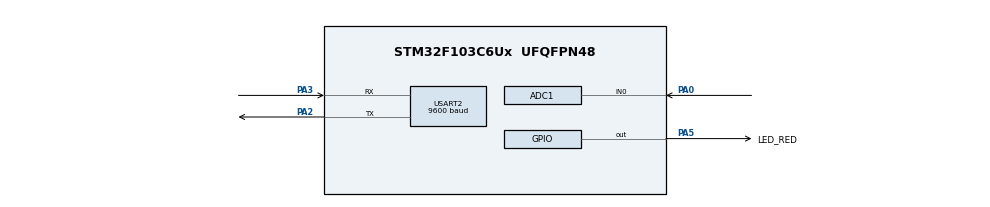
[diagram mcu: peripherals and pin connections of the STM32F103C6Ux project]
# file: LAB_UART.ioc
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ADC1.Channel-0\#ChannelRegularConversion=ADC_CHANNEL_0
ADC1.ContinuousConvMode=ENABLE
ADC1.NbrOfConversionFlag=1
ADC1.Rank-0\#ChannelRegularConversion=1
ADC1.SamplingTime-0\#ChannelRegularConversion=ADC_SAMPLETIME_1CYCLE_5
ADC1.master=1
Mcu.Family=STM32F1
Mcu.Name=STM32F103C6Ux
Mcu.Package=UFQFPN48
NVIC.PriorityGroup=NVIC_PRIORITYGROUP_4
NVIC.TIM2_IRQn=true\:0\:0\:false\:false\:true\:true\:true
NVIC.USART2_IRQn=true\:0\:0\:false\:false\:true\:true\:true
PA0-WKUP.Signal=ADCx_IN0
PA2.Mode=Asynchronous
PA2.Signal=USART2_TX
PA3.Mode=Asynchronous
PA3.Signal=USART2_RX
PA5.GPIO_Label=LED_RED
PA5.Signal=GPIO_Output
ProjectManager.HeapSize=0x200
ProjectManager.StackSize=0x400
ProjectManager.TargetToolchain=STM32CubeIDE
RCC.APB1Freq_Value=8000000
RCC.APB2Freq_Value=8000000
SH.ADCx_IN0.0=ADC1_IN0,IN0
TIM2.Period=9
TIM2.Prescaler=7999
USART2.BaudRate=9600
USART2.VirtualMode=VM_ASYNC
VP_SYS_VS_ND.Mode=No_Debug
VP_TIM2_VS_ClockSourceINT.Mode=Internal
board=custom

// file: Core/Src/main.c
/* USER CODE BEGIN Header */
/**
  ******************************************************************************
  * @file           : main.c
  * @brief          : Main program body
  ******************************************************************************
  * @attention
  *
  * <h2><center>&copy; Copyright (c) 2024 STMicroelectronics.
  * All rights reserved.</center></h2>
  *
  * This software component is licensed by ST under BSD 3-Clause license,
  * the "License"; You may not use this file except in compliance with the
  * License. You may obtain a copy of the License at:
  *                        opensource.org/licenses/BSD-3-Clause
  *
  ******************************************************************************
  */
/* USER CODE END Header */
#include "main.h"
#include <stdio.h>
#include <stdlib.h>
#include <string.h>
#include "software_timer.h"
#include "uart.h"

ADC_HandleTypeDef hadc1;

TIM_HandleTypeDef htim2;

UART_HandleTypeDef huart2;

void SystemClock_Config(void);
static void MX_GPIO_Init(void);
static void MX_ADC1_Init(void);
static void MX_USART2_UART_Init(void);
static void MX_TIM2_Init(void);

/* USER CODE BEGIN 0 */

void HAL_UART_RxCpltCallback(UART_HandleTypeDef *huart) {
    if (huart->Instance == USART2) {
        HAL_UART_Transmit(&huart2, &buffer_byte, 1, 500);
        buffer[head] = buffer_byte;
        head = (head + 1) % MAX_BUFFER_SIZE;
        if (head == tail) {
            tail = (tail + 1) % MAX_BUFFER_SIZE;
        }
        buffer_flag = 1;
        HAL_UART_Receive_IT(&huart2, &buffer_byte, 1);
    }
}

/* USER CODE END 0 */

int main(void)
{

  /* MCU Configuration--------------------------------------------------------*/

  /* Reset of all peripherals, Initializes the Flash interface and the Systick. */
  HAL_Init();

  /* Configure the system clock */
  SystemClock_Config();

  /* Initialize all configured peripherals */
  MX_GPIO_Init();
  MX_ADC1_Init();
  MX_USART2_UART_Init();
  MX_TIM2_Init();
  /* USER CODE BEGIN 2 */
  HAL_TIM_Base_Start_IT(&htim2);
  HAL_UART_Receive_IT(&huart2, &buffer_byte, 1);
  HAL_ADC_Start(&hadc1);
	setTimer2(50);

  /* USER CODE END 2 */

  /* Infinite loop */
  while (1)
  {

    /* USER CODE BEGIN 3 */

	  		if (buffer_flag == 1) {
	  			cmd_parser_fsm();
	  			buffer_flag = 0;
	  		}
	  		uart_comms_fsm();
    }
  }
  /* USER CODE END 3 */

void SystemClock_Config(void)
{
  RCC_OscInitTypeDef RCC_OscInitStruct = {0};
  RCC_ClkInitTypeDef RCC_ClkInitStruct = {0};
  RCC_PeriphCLKInitTypeDef PeriphClkInit = {0};

  /** Initializes the RCC Oscillators according to the specified parameters
  * in the RCC_OscInitTypeDef structure.
  */
  RCC_OscInitStruct.OscillatorType = RCC_OSCILLATORTYPE_HSI;
  RCC_OscInitStruct.HSIState = RCC_HSI_ON;
  RCC_OscInitStruct.HSICalibrationValue = RCC_HSICALIBRATION_DEFAULT;
  RCC_OscInitStruct.PLL.PLLState = RCC_PLL_NONE;
  if (HAL_RCC_OscConfig(&RCC_OscInitStruct) != HAL_OK)
  {
    Error_Handler();
  }
  /** Initializes the CPU, AHB and APB buses clocks
  */
  RCC_ClkInitStruct.ClockType = RCC_CLOCKTYPE_HCLK|RCC_CLOCKTYPE_SYSCLK
                              |RCC_CLOCKTYPE_PCLK1|RCC_CLOCKTYPE_PCLK2;
  RCC_ClkInitStruct.SYSCLKSource = RCC_SYSCLKSOURCE_HSI;
  RCC_ClkInitStruct.AHBCLKDivider = RCC_SYSCLK_DIV1;
  RCC_ClkInitStruct.APB1CLKDivider = RCC_HCLK_DIV1;
  RCC_ClkInitStruct.APB2CLKDivider = RCC_HCLK_DIV1;

  if (HAL_RCC_ClockConfig(&RCC_ClkInitStruct, FLASH_LATENCY_0) != HAL_OK)
  {
    Error_Handler();
  }
  PeriphClkInit.PeriphClockSelection = RCC_PERIPHCLK_ADC;
  PeriphClkInit.AdcClockSelection = RCC_ADCPCLK2_DIV2;
  if (HAL_RCCEx_PeriphCLKConfig(&PeriphClkInit) != HAL_OK)
  {
    Error_Handler();
  }
}

static void MX_ADC1_Init(void)
{

  ADC_ChannelConfTypeDef sConfig = {0};

  /** Common config
  */
  hadc1.Instance = ADC1;
  hadc1.Init.ScanConvMode = ADC_SCAN_DISABLE;
  hadc1.Init.ContinuousConvMode = ENABLE;
  hadc1.Init.DiscontinuousConvMode = DISABLE;
  hadc1.Init.ExternalTrigConv = ADC_SOFTWARE_START;
  hadc1.Init.DataAlign = ADC_DATAALIGN_RIGHT;
  hadc1.Init.NbrOfConversion = 1;
  if (HAL_ADC_Init(&hadc1) != HAL_OK)
  {
    Error_Handler();
  }
  /** Configure Regular Channel
  */
  sConfig.Channel = ADC_CHANNEL_0;
  sConfig.Rank = ADC_REGULAR_RANK_1;
  sConfig.SamplingTime = ADC_SAMPLETIME_1CYCLE_5;
  if (HAL_ADC_ConfigChannel(&hadc1, &sConfig) != HAL_OK)
  {
    Error_Handler();
  }

}

static void MX_TIM2_Init(void)
{

  TIM_ClockConfigTypeDef sClockSourceConfig = {0};
  TIM_MasterConfigTypeDef sMasterConfig = {0};

  htim2.Instance = TIM2;
  htim2.Init.Prescaler = 7999;
  htim2.Init.CounterMode = TIM_COUNTERMODE_UP;
  htim2.Init.Period = 9;
  htim2.Init.ClockDivision = TIM_CLOCKDIVISION_DIV1;
  htim2.Init.AutoReloadPreload = TIM_AUTORELOAD_PRELOAD_DISABLE;
  if (HAL_TIM_Base_Init(&htim2) != HAL_OK)
  {
    Error_Handler();
  }
  sClockSourceConfig.ClockSource = TIM_CLOCKSOURCE_INTERNAL;
  if (HAL_TIM_ConfigClockSource(&htim2, &sClockSourceConfig) != HAL_OK)
  {
    Error_Handler();
  }
  sMasterConfig.MasterOutputTrigger = TIM_TRGO_RESET;
  sMasterConfig.MasterSlaveMode = TIM_MASTERSLAVEMODE_DISABLE;
  if (HAL_TIMEx_MasterConfigSynchronization(&htim2, &sMasterConfig) != HAL_OK)
  {
    Error_Handler();
  }

}

static void MX_USART2_UART_Init(void)
{

  huart2.Instance = USART2;
  huart2.Init.BaudRate = 9600;
  huart2.Init.WordLength = UART_WORDLENGTH_8B;
  huart2.Init.StopBits = UART_STOPBITS_1;
  huart2.Init.Parity = UART_PARITY_NONE;
  huart2.Init.Mode = UART_MODE_TX_RX;
  huart2.Init.HwFlowCtl = UART_HWCONTROL_NONE;
  huart2.Init.OverSampling = UART_OVERSAMPLING_16;
  if (HAL_UART_Init(&huart2) != HAL_OK)
  {
    Error_Handler();
  }

}

static void MX_GPIO_Init(void)
{
  GPIO_InitTypeDef GPIO_InitStruct = {0};

  /* GPIO Ports Clock Enable */
  __HAL_RCC_GPIOA_CLK_ENABLE();

  /*Configure GPIO pin Output Level */
  HAL_GPIO_WritePin(LED_RED_GPIO_Port, LED_RED_Pin, GPIO_PIN_RESET);

  /*Configure GPIO pin : LED_RED_Pin */
  GPIO_InitStruct.Pin = LED_RED_Pin;
  GPIO_InitStruct.Mode = GPIO_MODE_OUTPUT_PP;
  GPIO_InitStruct.Pull = GPIO_NOPULL;
  GPIO_InitStruct.Speed = GPIO_SPEED_FREQ_LOW;
  HAL_GPIO_Init(LED_RED_GPIO_Port, &GPIO_InitStruct);

}

/* USER CODE BEGIN 4 */
void HAL_TIM_PeriodElapsedCallback(TIM_HandleTypeDef *htim) {
	timerRun();
}
/* USER CODE END 4 */

void Error_Handler(void)
{
  __disable_irq();
  while (1)
  {
  }
}

/************************ (C) COPYRIGHT STMicroelectronics *****END OF FILE****/
